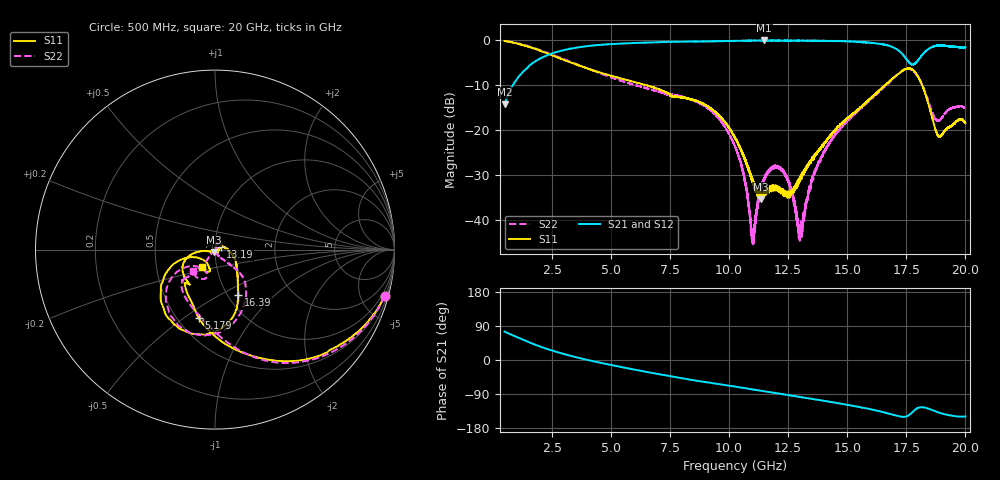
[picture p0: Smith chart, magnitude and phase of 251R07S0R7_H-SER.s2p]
!{201R07S0R7}
!Johanson Technology Inc.
!www.johansontechnology.com
!Test Board Conditions:
!Substrate Type  RO4350B
!Substrate Thickness  10 mil
!Substrate Dk  3.66
!TL Type: GCPW
!TL Trace Width  21 mil
!TL Gap  20 mil
!Electrode orientation  Horizontal
!DUT TOPOLOGY	SERIES
!Mounting Pad LxW  16x21 mil
!Agilent Technologies,N5230A,MY45001966,A.07.50.67
!Agilent N5230A: A.07.50.67
! Created Mon Mar  9 16:16:46 2020
# mhz S ma R 50
! 2 Port Network Data from SP1.SP block
! freq  magS11  angS11  magS21  angS21  magS12  angS12  magS22  angS22
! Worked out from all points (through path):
!   19501 points, 500 MHz to 20 GHz, reference 50 ohm
!   highest |S21| = -0.06 dB at 11.49 GHz (marker M1); lowest = -14.3 dB at 500 MHz (marker M2)
!   lowest |S11| = -35.4 dB at 11.35 GHz (marker M3), VSWR 1.03, Z = 49.4 - j1.56 ohm
!   |S11| at or under -10 dB: 6.482 GHz to 16.6 GHz (10.12 GHz wide, 87.7 % of centre); 16.6059 GHz to 16.60615 GHz (255.5 kHz wide, 0.00154 % of centre); 18.17 GHz to end of sweep
!   |S22| runs from -45.8 to -0.2 dB; largest |S21 - S12| = 0.016
!   S11 on the Smith chart (normalised r, x): 500 MHz: 0.60, -7.44; 5.179 GHz: 0.63, -0.57; 13.19 GHz: 1.06, +0.03; 16.39 GHz: 1.12, -0.61; 20 GHz: 0.85, -0.16
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500  0.979 -15.2  0.1938 74.9  0.1943 75.1  0.9805 -15.3
1834  0.793 -50.4  0.5899 39.4  0.5912 39.4  0.8051 -50.3
3750  0.5126 -86.0  0.8424 3.9  0.8432 3.9  0.5161 -83.0
5179  0.3914 -103.3  0.9105 -15.3  0.9105 -15.3  0.3723 -104.6
7000  0.2865 -122.7  0.9502 -37.0  0.9496 -37.1  0.2691 -133.7
9075  0.1852 -158.7  0.9709 -59.1  0.9688 -59.2  0.1781 -131.4
10250  0.08263 -173.2  0.9819 -70.2  0.9827 -70.2  0.06668 -127.5
10658  0.04801 -171.2  0.9882 -74.2  0.9856 -74.3  0.02924 -132.7
10992  0.02799 -154.8  0.9881 -77.5  0.9893 -77.5  0.006018 163.9
11348  0.01701 -111.6  0.9908 -81.2  0.9905 -81.1  0.02314 77.7
11488  0.01924 -93.1  0.9933 -82.6  0.9897 -82.5  0.02873 76.1
12214  0.02037 -48.1  0.9887 -89.7  0.9913 -90.0  0.037 67.8
12984  0.0277 20.9  0.988 -97.3  0.9894 -97.6  0.008217 6.0
13190  0.03446 24.4  0.9872 -99.5  0.9889 -99.5  0.01126 -50.1
13500  0.04692 19.1  0.9903 -102.7  0.985 -102.7  0.02698 -62.2
14460  0.09772 -14.9  0.9787 -112.3  0.9804 -112.5  0.08754 -47.9
16387  0.2822 -62.7  0.9091 -135.6  0.9055 -135.5  0.2735 -51.0
16750  0.3398 -69.0  0.8708 -141.2  0.859 -141.3  0.338 -60.5
17514  0.4806 -101.4  0.6112 -148.5  0.6107 -148.2  0.4835 -98.0
17982  0.4015 -139.5  0.5925 -126.6  0.5997 -126.5  0.3989 -133.1
18860  0.08571 -136.6  0.8746 -138.3  0.8724 -138.3  0.127 -121.1
20000  0.1194 -127.8  0.8325 -149.0  0.8326 -149.0  0.1716 -135.0
